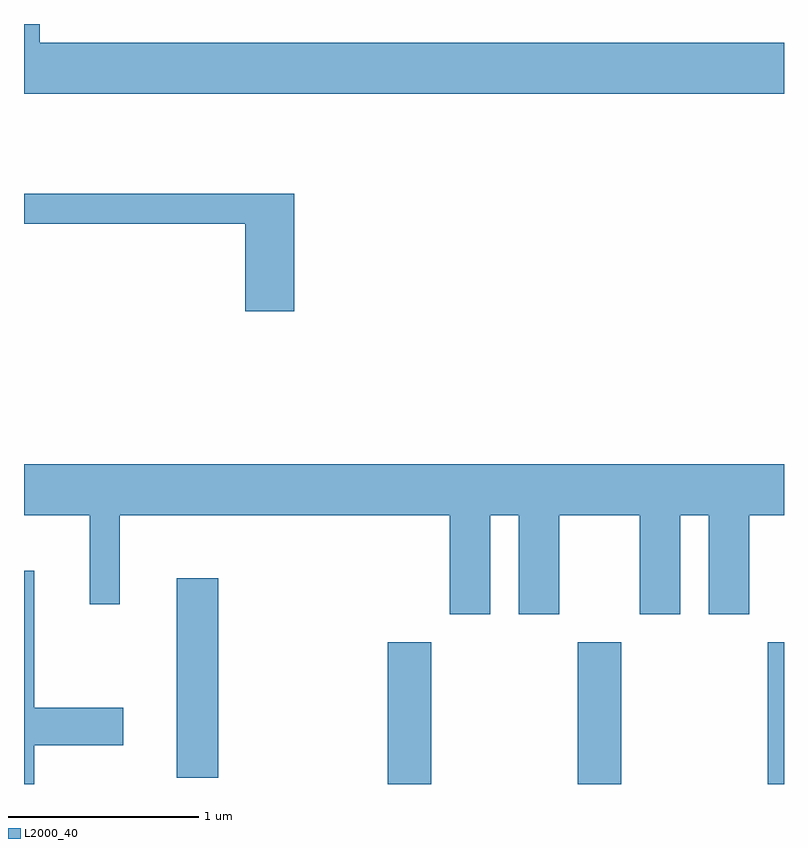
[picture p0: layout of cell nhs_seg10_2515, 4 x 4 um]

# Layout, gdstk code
import gdstk
lib = gdstk.Library(unit=1e-6, precision=1e-09)
def R(c, l, rs):  # rectangles x0, y0, x1, y1
    for r in rs: c.add(gdstk.rectangle(r[:2], r[2:], *l))
def P(c, l, *ps):  # polygons
    for p in ps: c.add(gdstk.Polygon(p, *l))
L2000_40 = (2000, 40)

nhs_seg10_2515 = lib.new_cell('nhs_seg10_2515')
R(nhs_seg10_2515, L2000_40, [(261.526,2092.522,261.754,2093.269), (262.526,2092.522,262.754,2093.269), (263.526,2092.522,263.611,2093.269), (260.416,2092.556,260.634,2093.604)])
P(nhs_seg10_2515, L2000_40, [(263.611,2096.424),(259.694,2096.424),(259.694,2096.522),(259.611,2096.522),(259.611,2096.156),(263.611,2096.156)],
  [(261.034,2095.629),(259.611,2095.629),(259.611,2095.471),(260.776,2095.471),(260.776,2095.011),(261.034,2095.011)],
  [(262.064,2093.936),(262.216,2093.936),(262.216,2093.416),(262.429,2093.416),(262.429,2093.936),(262.851,2093.936),(262.851,2093.416),(263.064,2093.416),(263.064,2093.936),(263.216,2093.936),(263.216,2093.416),(263.429,2093.416),(263.429,2093.936),(263.611,2093.936),(263.611,2094.204),(259.611,2094.204),(259.611,2093.936),(259.956,2093.936),(259.956,2093.468),(260.114,2093.468),(260.114,2093.936),(261.851,2093.936),(261.851,2093.416),(262.064,2093.416)],
  [(259.664,2092.726),(260.134,2092.726),(260.134,2092.924),(259.664,2092.924),(259.664,2093.644),(259.611,2093.644),(259.611,2092.522),(259.664,2092.522)])

lib.write_gds('nhs_seg10_2515.gds')
